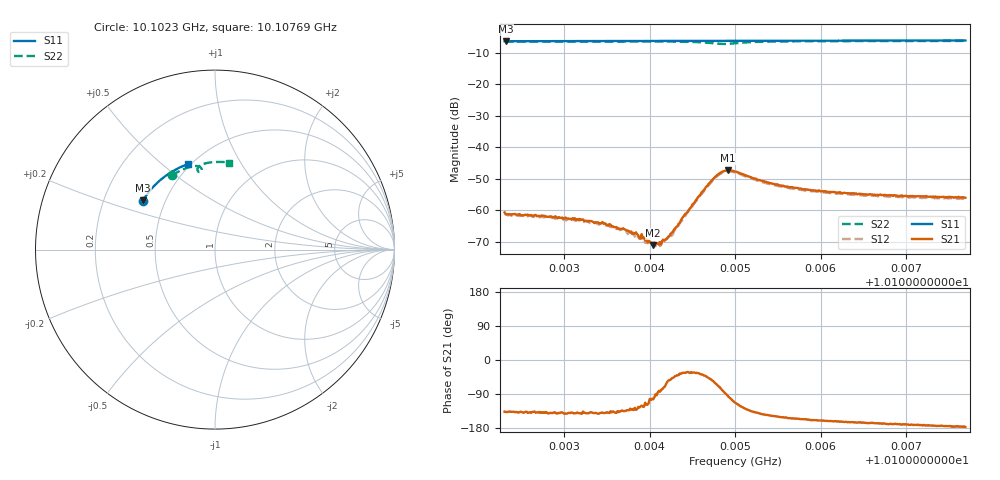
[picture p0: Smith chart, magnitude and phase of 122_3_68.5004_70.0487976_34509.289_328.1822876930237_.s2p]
#  HZ  S  RI  R  50.00
! Rohde & Schwarz Vector Network Analyzer
! Rohde-Schwarz,ZNB20-2Port,1311601062101988,3.16
! Created: UTC 3/20/2024, 5:09:10 PM
! freq[Hz]  re:S11  im:S11  re:S21  im:S21  re:S12  im:S12  re:S22  im:S22
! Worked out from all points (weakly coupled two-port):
!   401 points, 10.1023 GHz to 10.10769 GHz, reference 50 ohm
!   highest |S21| = -47.28 dB at 10.10492 GHz (marker M1); lowest = -71.2 dB at 10.10404 GHz (marker M2)
!   lowest |S11| = -6.3 dB at 10.10232 GHz (marker M3), VSWR 2.89, Z = 18.7 + j13.5 ohm
!   |S11| at or under -10 dB: nowhere
!   |S22| runs from -7.1 to -6.2 dB; largest |S21 - S12| = 0.00046
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1.0102302e10  -0.4016 0.2735  -0.000667 -0.000634  -0.00056 -0.000656  -0.2395 0.4138
1.0102316e10  -0.401 0.2743  -0.000633 -0.000588  -0.000577 -0.00065  -0.2389 0.4143
1.0102841e10  -0.3835 0.3011  -0.000607 -0.000515  -0.000538 -0.000551  -0.2091 0.4317
1.0103205e10  -0.3702 0.3189  -0.000559 -0.000435  -0.000491 -0.000476  -0.1873 0.4425
1.0103461e10  -0.3604 0.331  -0.000465 -0.00039  -0.000395 -0.000418  -0.1713 0.4495
1.010369e10  -0.3514 0.3415  -0.000363 -0.000365  -0.000306 -0.000371  -0.1565 0.4552
1.0103839e10  -0.3453 0.3481  -0.000294 -0.000332  -0.000224 -0.000333  -0.1465 0.4585
1.0103946e10  -0.3409 0.3529  -0.000128 -0.000309  -0.000111 -0.000281  -0.1389 0.4607
1.0104041e10  -0.3368 0.3571  -6.67e-05 -0.000268  -3.94e-05 -0.000299  -0.132 0.4626
1.0104108e10  -0.3339 0.36  4.34e-05 -0.000282  6.55e-05 -0.000301  -0.127 0.4637
1.0104149e10  -0.3323 0.3617  7.84e-05 -0.00033  0.000123 -0.000279  -0.124 0.4642
1.0104203e10  -0.33 0.364  0.000184 -0.000302  0.000195 -0.000288  -0.1196 0.4651
1.0104256e10  -0.3277 0.3663  0.000287 -0.000328  0.000284 -0.000269  -0.1153 0.4657
1.0104566e10  -0.3138 0.3791  0.00134 -0.000921  0.00132 -0.000771  -0.0859 0.4619
1.0104742e10  -0.3059 0.3861  0.00179 -0.00258  0.00191 -0.00231  -0.0733 0.4448
1.0104836e10  -0.3016 0.3897  0.000932 -0.00388  0.00124 -0.00363  -0.0794 0.433
1.0104917e10  -0.2978 0.3927  -0.000431 -0.0043  -2.97e-05 -0.00411  -0.0906 0.4328
1.0104998e10  -0.2941 0.3958  -0.00155 -0.00381  -0.00115 -0.0038  -0.0974 0.4411
1.0105429e10  -0.2735 0.412  -0.00224 -0.00142  -0.00202 -0.00155  -0.0729 0.4741
1.0105901e10  -0.2499 0.4281  -0.00191 -0.000756  -0.00177 -0.000932  -0.0382 0.4838
1.0106804e10  -0.2023 0.4547  -0.00171 -0.000329  -0.00155 -0.000481  0.0229 0.4886
1.0107693e10  -0.1526 0.4757  -0.00158 -8.98e-05  -0.0015 -0.00023  0.0805 0.4848
